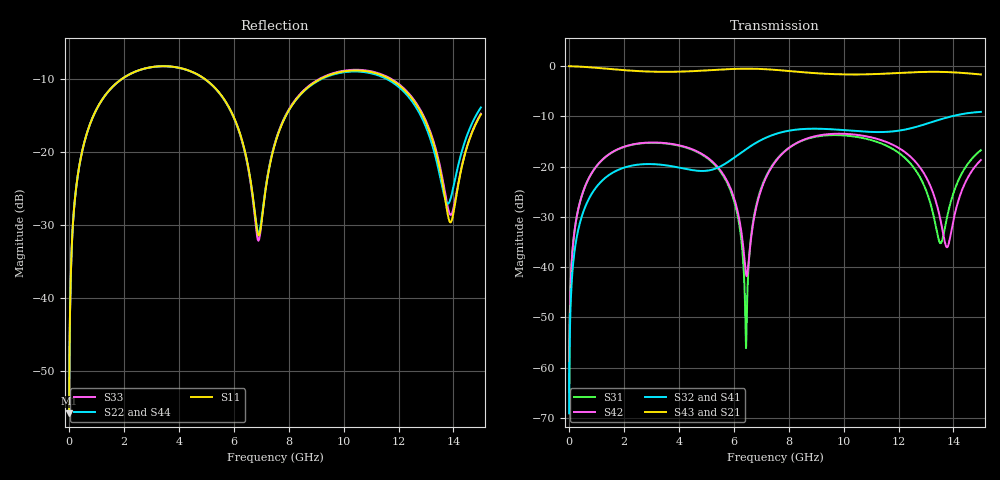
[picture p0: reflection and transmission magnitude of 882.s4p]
! Created with skrf 1.8.0 (http://scikit-rf.org).
# GHz S RI R 50.0
!freq ReS11 ImS11 ReS12 ImS12 ReS13 ImS13
! ReS14 ImS14
! ReS21 ImS21 ReS22 ImS22 ReS23 ImS23
! ReS24 ImS24
! ReS31 ImS31 ReS32 ImS32 ReS33 ImS33
! ReS34 ImS34
! ReS41 ImS41 ReS42 ImS42 ReS43 ImS43
! ReS44 ImS44
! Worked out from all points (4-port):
!   2499 points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, 5 MHz to 15 GHz, reference 50 ohm
!   strongest paths, dB at 5 MHz, 3.476 GHz, 7.19 GHz, 11.1 GHz, 15 GHz:
!     S43: 0.0, -1.1, -0.6, -1.6, -1.7
!     S21: 0.0, -1.1, -0.6, -1.6, -1.7
!     S32: -69.1, -19.7, -14.2, -13.1, -9.1
!     S41: -69.1, -19.7, -14.2, -13.1, -9.1
!     S42: -64.9, -15.3, -22.0, -14.3, -18.7
!     S31: -64.9, -15.4, -21.8, -14.9, -16.7
!   lowest |S11| = -55.8 dB at 5 MHz (marker M1), VSWR 1.00, Z = 50.1 + j0.0983 ohm
!   |S11| at or under -10 dB: start of sweep to 1.922 GHz; 4.949 GHz to 9.157 GHz (4.208 GHz wide, 59.7 % of centre); 11.68 GHz to end of sweep
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0.005  0.0013 0.00098  0.9987 -0.00253  6.59e-05 0.000563  -6.38e-05 -0.000345
       0.9987 -0.00253  0.0013 0.00098  -6.38e-05 -0.000345  6.6e-05 0.000563
       6.59e-05 0.000563  -6.38e-05 -0.000345  0.0013 0.00098  0.9987 -0.00253
       -6.38e-05 -0.000345  6.6e-05 0.000563  0.9987 -0.00253  0.0013 0.00098
0.4126719  0.0248 0.0842  0.9656 -0.2066  0.0127 0.0439  -0.0105 -0.0265
           0.9656 -0.2066  0.0248 0.0842  -0.0105 -0.0265  0.0128 0.0438
           0.0127 0.0439  -0.0105 -0.0265  0.0248 0.0842  0.9656 -0.2066
           -0.0105 -0.0265  0.0128 0.0438  0.9656 -0.2066  0.0248 0.0842
1.925802  0.262 0.1777  0.5624 -0.7217  0.1366 0.0716  -0.0957 -0.00803
          0.5624 -0.7217  0.2614 0.178  -0.0956 -0.00808  0.1383 0.0694
          0.1366 0.0716  -0.0956 -0.00808  0.262 0.1776  0.5624 -0.7217
          -0.0957 -0.00803  0.1383 0.0694  0.5624 -0.7217  0.2613 0.178
5.458524  0.1793 -0.1839  -0.662 -0.6411  0.0537 -0.0766  -0.0454 0.0879
          -0.662 -0.6411  0.1803 -0.1818  -0.0459 0.0873  0.0474 -0.0833
          0.0537 -0.0766  -0.0459 0.0873  0.1778 -0.1839  -0.6625 -0.6411
          -0.0454 0.0879  0.0474 -0.0833  -0.6625 -0.6411  0.1801 -0.1803
6.446436  0.0428 -0.0838  -0.9006 -0.279  -0.00154 -0.000292  -0.0388 0.1438
          -0.9006 -0.279  0.0439 -0.0822  -0.04 0.1435  -0.00795 -0.0032
          -0.00154 -0.000292  -0.04 0.1435  0.0406 -0.0824  -0.901 -0.2783
          -0.0388 0.1438  -0.00795 -0.0032  -0.901 -0.2783  0.0449 -0.0799
6.896624  0.0267 -0.00388  -0.9357 -0.0751  0.00727 0.0492  -0.00839 0.1775
          -0.9357 -0.0751  0.0278 -0.00268  -0.00978 0.1775  0.0024 0.0478
          0.00727 0.0492  -0.00978 0.1775  0.0247 -0.00158  -0.9357 -0.0742
          -0.00839 0.1775  0.0024 0.0478  -0.9357 -0.0742  0.0295 -0.000292
15  0.1187 0.1365  0.7739 -0.2893  0.1343 0.057  -0.155 -0.3148
    0.7739 -0.2893  0.1391 0.1465  -0.1512 -0.3161  0.0965 0.0648
    0.1343 0.057  -0.1512 -0.3161  0.1217 0.1369  0.7743 -0.2877
    -0.155 -0.3148  0.0965 0.0648  0.7743 -0.2877  0.1372 0.1472
